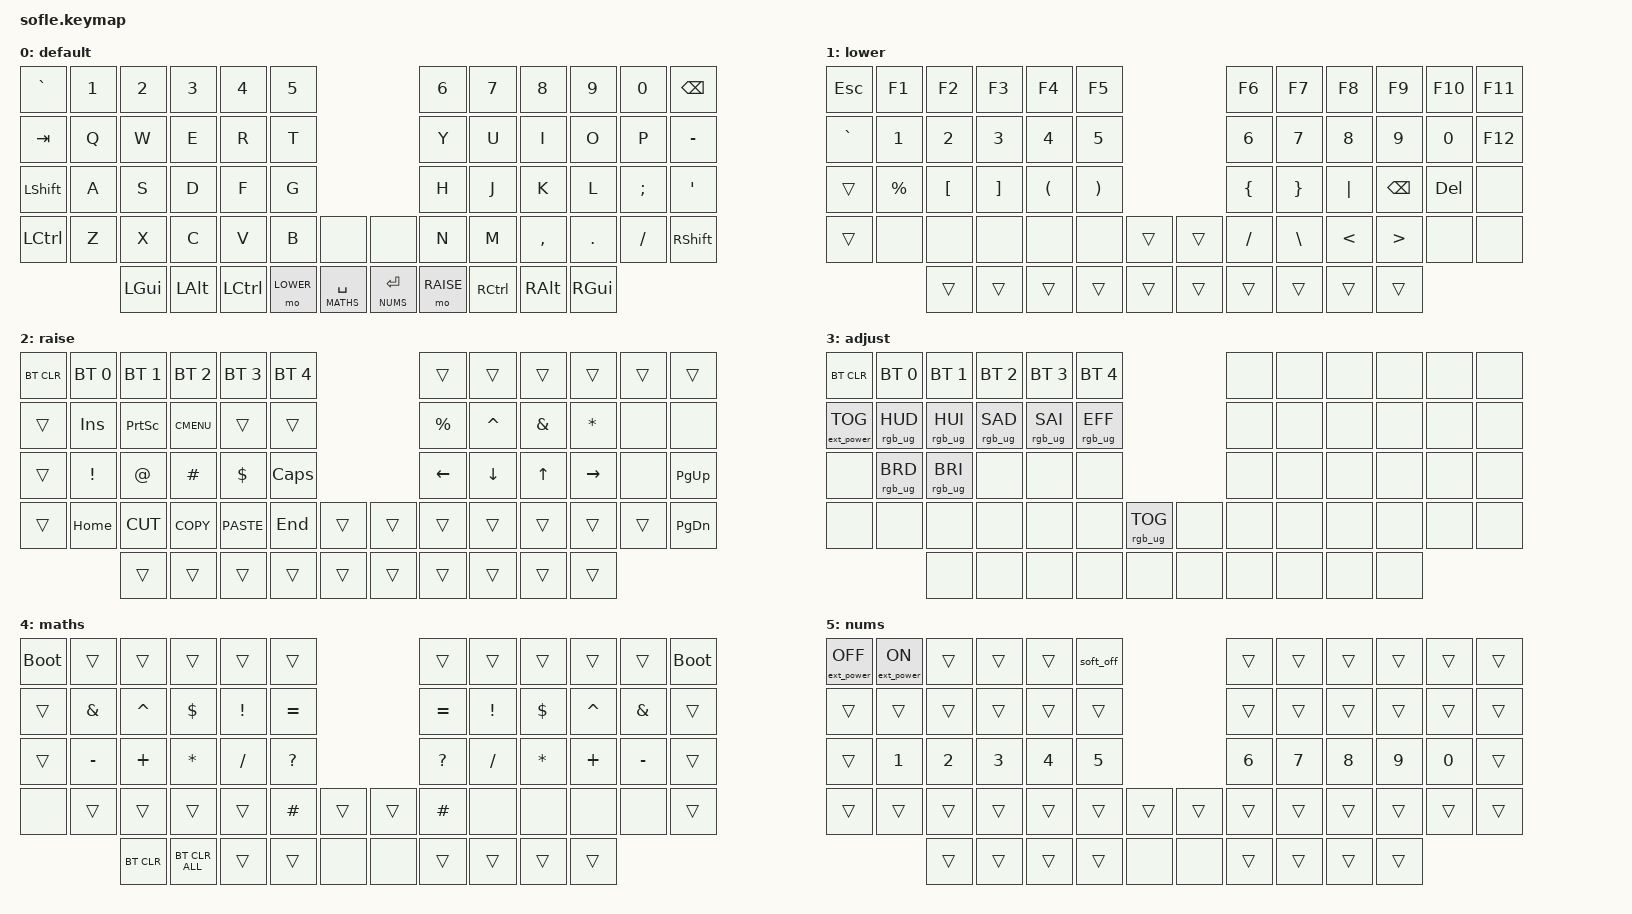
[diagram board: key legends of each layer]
/*
 * Copyright (c) 2020 The ZMK Contributors
 *
 * SPDX-License-Identifier: MIT
 */

#include <behaviors.dtsi>
#include <dt-bindings/zmk/bt.h>
#include <dt-bindings/zmk/ext_power.h>
#include <dt-bindings/zmk/keys.h>
#include <dt-bindings/zmk/rgb.h>

#define BASE 0
#define LOWER 1
#define RAISE 2
#define ADJUST 3
#define MATHS 4
#define NUMS 5

/ {
    combos {
        compatible = "zmk,combos";

        combo_studio_unlock {
            timeout-ms = <50>;
            key-positions = <0 1>;
            bindings = <&studio_unlock>;
        };
    };
};

/ {
    // Activate ADJUST layer by pressing raise and lower

    conditional_layers {
        compatible = "zmk,conditional-layers";

        adjust_layer {
            if-layers = <LOWER RAISE>;
            then-layer = <ADJUST>;
        };
    };

    keymap {
        compatible = "zmk,keymap";

        default_layer {
            display-name = "default";

            /*
             * ┌─────────┬─────────┬─────────┬─────────┬─────────┬─────────┐               ┌─────────┬─────────┬─────────┬─────────┬─────────┬─────────┐
             * │    `    │    1    │    2    │    3    │    4    │    5    │               │    6    │    7    │    8    │    9    │    0    │  BKSPC  │
             * ├─────────┼─────────┼─────────┼─────────┼─────────┼─────────┤               ├─────────┼─────────┼─────────┼─────────┼─────────┼─────────┤
             * │   TAB   │    Q    │    W    │    E    │    R    │    T    │               │    Y    │    U    │    I    │    O    │    P    │    -    │
             * ├─────────┼─────────┼─────────┼─────────┼─────────┼─────────┤               ├─────────┼─────────┼─────────┼─────────┼─────────┼─────────┤
             * │  SHIFT  │    A    │    S    │    D    │    F    │    G    │               │    H    │    J    │    K    │    L    │    ;    │    '    │
             * ├─────────┼─────────┼─────────┼─────────┼─────────┼─────────┼───────┐┌──────┼─────────┼─────────┼─────────┼─────────┼─────────┼─────────┤
             * │  CTRL   │    Z    │    X    │    C    │    V    │    B    │ MUTE  ││      │    N    │    M    │    ,    │    .    │    /    │  SHIFT  │
             * └─────────┴─────────┴─────────┼─────────┼─────────┼─────────┼───────┤└──────┼─────────┼─────────┼─────────┼─────────┴─────────┴─────────┘
             *                               │  LGUI   │  LALT   │  LCTRL  │ LOWER │ SPACE │ ENTER   │  RAISE  │  RCTRL  │  RALT   │  RGUI   │
             *                               └─────────┴─────────┴─────────┴───────┴───────┴─────────┴─────────┴─────────┴─────────┴─────────┘
             */

            bindings = <
&kp GRAVE         &kp N1  &kp N2        &kp N3    &kp N4     &kp N5                                        &kp N6     &kp N7     &kp N8     &kp N9         &kp N0    &kp BACKSPACE
&kp TAB           &kp Q   &kp W         &kp E     &kp R      &kp T                                         &kp Y      &kp U      &kp I      &kp O          &kp P     &kp MINUS
&kp LEFT_SHIFT    &kp A   &kp S         &kp D     &kp F      &kp G                                         &kp H      &kp J      &kp K      &kp L          &kp SEMI  &kp SQT
&kp LEFT_CONTROL  &kp Z   &kp X         &kp C     &kp V      &kp B      &none              &none           &kp N      &kp M      &kp COMMA  &kp DOT        &kp FSLH  &kp RSHFT
                          &kp LEFT_GUI  &kp LALT  &kp LCTRL  &mo LOWER  &lt MATHS SPACE    &lt NUMS ENTER  &mo RAISE  &kp RCTRL  &kp RALT   &kp RIGHT_GUI
            >;
        };

        lower_layer {
            display-name = "lower";

            /*
             * ┌─────────┬─────────┬─────────┬─────────┬─────────┬─────────┐               ┌─────────┬─────────┬─────────┬─────────┬─────────┬─────────┐
             * │   ESC   │   F1    │   F2    │   F3    │   F4    │   F5    │               │   F6    │   F7    │   F8    │   F9    │   F10   │   F11   │
             * ├─────────┼─────────┼─────────┼─────────┼─────────┼─────────┤               ├─────────┼─────────┼─────────┼─────────┼─────────┼─────────┤
             * │    `    │    1    │    2    │    3    │    4    │    5    │               │    6    │    7    │    8    │    9    │    0    │   F12   │
             * ├─────────┼─────────┼─────────┼─────────┼─────────┼─────────┤               ├─────────┼─────────┼─────────┼─────────┼─────────┼─────────┤
             * │  TRANS  │    %    │    [    │    ]    │    (    │    )    │               │    {    │    }    │    |    │  BKSPC  │   DEL   │  NONE   │
             * ├─────────┼─────────┼─────────┼─────────┼─────────┼─────────┼───────┐┌──────┼─────────┼─────────┼─────────┼─────────┼─────────┼─────────┤
             * │  TRANS  │  NONE   │  NONE   │  NONE   │  NONE   │  NONE   │ TRANS ││TRANS │    /    │    \    │    <    │    >    │  NONE   │  NONE   │
             * └─────────┴─────────┴─────────┼─────────┼─────────┼─────────┼───────┤└──────┼─────────┼─────────┼─────────┼─────────┴─────────┴─────────┘
             *                               │  TRANS  │  TRANS  │  TRANS  │ TRANS │ TRANS │ TRANS   │  TRANS  │  TRANS  │  TRANS  │  TRANS  │
             *                               └─────────┴─────────┴─────────┴───────┴───────┴─────────┴─────────┴─────────┴─────────┴─────────┘
             */

            bindings = <
&kp ESCAPE  &kp F1       &kp F2            &kp F3             &kp F4                &kp F5                                   &kp F6          &kp F7           &kp F8         &kp F9            &kp F10     &kp F11
&kp GRAVE   &kp N1       &kp N2            &kp N3             &kp N4                &kp N5                                   &kp N6          &kp N7           &kp N8         &kp N9            &kp N0      &kp F12
&trans      &kp PERCENT  &kp LEFT_BRACKET  &kp RIGHT_BRACKET  &kp LEFT_PARENTHESIS  &kp RIGHT_PARENTHESIS                    &kp LEFT_BRACE  &kp RIGHT_BRACE  &kp PIPE       &kp BACKSPACE     &kp DELETE  &none
&trans      &none        &none             &none              &none                 &none                  &trans    &trans  &kp SLASH       &kp BACKSLASH    &kp LESS_THAN  &kp GREATER_THAN  &none       &none
                         &trans            &trans             &trans                &trans                 &trans    &trans  &trans          &trans           &trans         &trans
            >;
        };

        raise_layer {
            display-name = "raise";

            /*
             * ┌─────────┬─────────┬─────────┬─────────┬─────────┬─────────┐               ┌─────────┬─────────┬─────────┬─────────┬─────────┬─────────┐
             * │ BT_CLR  │  BT 0   │  BT 1   │  BT 2   │  BT 3   │  BT 4   │               │  TRANS  │  TRANS  │  TRANS  │  TRANS  │  TRANS  │  TRANS  │
             * ├─────────┼─────────┼─────────┼─────────┼─────────┼─────────┤               ├─────────┼─────────┼─────────┼─────────┼─────────┼─────────┤
             * │  TRANS  │   INS   │  PSCRN  │  MENU   │  TRANS  │  TRANS  │               │    %    │    ^    │    &    │    *    │  NONE   │  NONE   │
             * ├─────────┼─────────┼─────────┼─────────┼─────────┼─────────┤               ├─────────┼─────────┼─────────┼─────────┼─────────┼─────────┤
             * │  TRANS  │    !    │    @    │    #    │    $    │  CAPS   │               │  LEFT   │  DOWN   │   UP    │  RIGHT  │  NONE   │  PG_UP  │
             * ├─────────┼─────────┼─────────┼─────────┼─────────┼─────────┼───────┐┌──────┼─────────┼─────────┼─────────┼─────────┼─────────┼─────────┤
             * │  TRANS  │  HOME   │   CUT   │  COPY   │  PASTE  │   END   │ TRANS ││TRANS │  TRANS  │  TRANS  │  TRANS  │  TRANS  │  TRANS  │  PG_DN  │
             * └─────────┴─────────┴─────────┼─────────┼─────────┼─────────┼───────┤└──────┼─────────┼─────────┼─────────┼─────────┴─────────┴─────────┘
             *                               │  TRANS  │  TRANS  │  TRANS  │ TRANS │ TRANS │ TRANS   │  TRANS  │  TRANS  │  TRANS  │  TRANS  │
             *                               └─────────┴─────────┴─────────┴───────┴───────┴─────────┴─────────┴─────────┴─────────┴─────────┘
             */

            bindings = <
&bt BT_CLR  &bt BT_SEL 0     &bt BT_SEL 1  &bt BT_SEL 2  &bt BT_SEL 3  &bt BT_SEL 4                    &trans       &trans     &trans         &trans     &trans  &trans
&trans      &kp INS          &kp PSCRN     &kp K_CMENU   &trans        &trans                          &kp PERCENT  &kp CARET  &kp AMPERSAND  &kp STAR   &none   &none
&trans      &kp EXCLAMATION  &kp AT        &kp POUND     &kp DOLLAR    &kp CLCK                        &kp LEFT     &kp DOWN   &kp UP_ARROW   &kp RIGHT  &none   &kp PAGE_UP
&trans      &kp HOME         &kp K_CUT     &kp K_COPY    &kp K_PASTE   &kp END       &trans    &trans  &trans       &trans     &trans         &trans     &trans  &kp PAGE_DOWN
                             &trans        &trans        &trans        &trans        &trans    &trans  &trans       &trans     &trans         &trans
            >;
        };

        adjust_layer {
            display-name = "adjust";

            /*
             * ┌─────────┬─────────┬─────────┬─────────┬─────────┬─────────┐               ┌─────────┬─────────┬─────────┬─────────┬─────────┬─────────┐
             * │ BT_CLR  │  BT 0   │  BT 1   │  BT 2   │  BT 3   │  BT 4   │               │  NONE   │  NONE   │  NONE   │  NONE   │  NONE   │  NONE   │
             * ├─────────┼─────────┼─────────┼─────────┼─────────┼─────────┤               ├─────────┼─────────┼─────────┼─────────┼─────────┼─────────┤
             * │ EP_TOG  │ RGB_HUD │ RGB_HUI │ RGB_SAD │ RGB_SAI │ RGB_EFF │               │  NONE   │  NONE   │  NONE   │  NONE   │  NONE   │  NONE   │
             * ├─────────┼─────────┼─────────┼─────────┼─────────┼─────────┤               ├─────────┼─────────┼─────────┼─────────┼─────────┼─────────┤
             * │  NONE   │ RGB_BRD │ RGB_BRI │  NONE   │  NONE   │  NONE   │               │  NONE   │  NONE   │  NONE   │  NONE   │  NONE   │  NONE   │
             * ├─────────┼─────────┼─────────┼─────────┼─────────┼─────────┼───────┐┌──────┼─────────┼─────────┼─────────┼─────────┼─────────┼─────────┤
             * │  NONE   │  NONE   │  NONE   │  NONE   │  NONE   │  NONE   │RGB_TOG││ NONE │  NONE   │  NONE   │  NONE   │  NONE   │  NONE   │  NONE   │
             * └─────────┴─────────┴─────────┼─────────┼─────────┼─────────┼───────┤└──────┼─────────┼─────────┼─────────┼─────────┴─────────┴─────────┘
             *                               │  NONE   │  NONE   │  NONE   │ NONE  │ NONE  │  NONE   │  NONE   │  NONE   │  NONE   │  NONE   │
             *                               └─────────┴─────────┴─────────┴───────┴───────┴─────────┴─────────┴─────────┴─────────┴─────────┘
             */

            bindings = <
&bt BT_CLR         &bt BT_SEL 0     &bt BT_SEL 1     &bt BT_SEL 2     &bt BT_SEL 3     &bt BT_SEL 4                               &none  &none  &none  &none  &none  &none
&ext_power EP_TOG  &rgb_ug RGB_HUD  &rgb_ug RGB_HUI  &rgb_ug RGB_SAD  &rgb_ug RGB_SAI  &rgb_ug RGB_EFF                            &none  &none  &none  &none  &none  &none
&none              &rgb_ug RGB_BRD  &rgb_ug RGB_BRI  &none            &none            &none                                      &none  &none  &none  &none  &none  &none
&none              &none            &none            &none            &none            &none            &rgb_ug RGB_TOG    &none  &none  &none  &none  &none  &none  &none
                                    &none            &none            &none            &none            &none              &none  &none  &none  &none  &none
            >;
        };

        maths_layer {
            display-name = "maths";

            /*
		 * ┌─────────┬─────────┬─────────┬─────────┬─────────┬─────────┐               ┌─────────┬─────────┬─────────┬─────────┬─────────┬─────────┐
		 * │BOOTLOADR│  TRANS  │  TRANS  │  TRANS  │  TRANS  │  TRANS  │               │  TRANS  │  TRANS  │  TRANS  │  TRANS  │  TRANS  │BOOTLOADR│
		 * ├─────────┼─────────┼─────────┼─────────┼─────────┼─────────┤               ├─────────┼─────────┼─────────┼─────────┼─────────┼─────────┤
		 * │  TRANS  │    &    │    ^    │    $    │    !    │    =    │               │    =    │    !    │    $    │    ^    │    &    │  TRANS  │
		 * ├─────────┼─────────┼─────────┼─────────┼─────────┼─────────┤               ├─────────┼─────────┼─────────┼─────────┼─────────┼─────────┤
		 * │  TRANS  │    -    │    +    │    *    │    /    │    ?    │               │    ?    │    /    │    *    │    +    │    -    │  TRANS  │
		 * ├─────────┼─────────┼─────────┼─────────┼─────────┼─────────┼───────┐┌──────┼─────────┼─────────┼─────────┼─────────┼─────────┼─────────┤
		 * │  NONE   │  TRANS  │  TRANS  │  TRANS  │  TRANS  │    #    │ TRANS ││TRANS │    #    │  NONE   │  NONE   │  NONE   │  NONE   │  TRANS  │
		 * └─────────┴─────────┴─────────┼─────────┼─────────┼─────────┼───────┤└──────┼─────────┼─────────┼─────────┼─────────┴─────────┴─────────┘
		 *                               │ BT_CLR  │BT_CLR_A │  TRANS  │ NONE  │ NONE │ TRANS   │  TRANS  │  TRANS  │  TRANS  │  TRANS  │
		 *                               └─────────┴─────────┴─────────┴───────┴───────┴─────────┴─────────┴─────────┴─────────┴─────────┘
		 */

            bindings = <
&bootloader  &trans         &trans      &trans          &trans           &trans                          &trans        &trans           &trans      &trans     &trans         &bootloader
&trans       &kp AMPERSAND  &kp CARET   &kp DOLLAR      &kp EXCLAMATION  &kp EQUAL                       &kp EQUAL     &kp EXCLAMATION  &kp DOLLAR  &kp CARET  &kp AMPERSAND  &trans
&trans       &kp MINUS      &kp PLUS    &kp STAR        &kp SLASH        &kp QUESTION                    &kp QUESTION  &kp SLASH        &kp STAR    &kp PLUS   &kp MINUS      &trans
&none        &trans         &trans      &trans          &trans           &kp HASH      &trans    &trans  &kp HASH      &none            &none       &none      &none          &trans
                            &bt BT_CLR  &bt BT_CLR_ALL  &trans           &trans        &none     &none   &trans        &trans           &trans      &trans
            >;
        };

        nums_layer {
            display-name = "nums";

            /*
 * --------------------------------------------------------------------------------------------------------------------
 * | EXT_OFF | EXT_ON | TRANS  | TRANS  | TRANS  | SOFTOFF|                    | TRANS  | TRANS | TRANS | TRANS | TRANS |
 * | TRANS   | TRANS  | TRANS  | TRANS  | TRANS  | TRANS  |                    | TRANS  | TRANS | TRANS | TRANS | TRANS |
 * | TRANS   |   1    |   2    |   3    |   4    |   5    |                    |   6    |   7   |   8   |   9   |   0   |
 * | TRANS   | TRANS  | TRANS  | TRANS  | TRANS  | TRANS  |  TRANS  |  | TRANS | TRANS  | TRANS | TRANS | TRANS | TRANS |
 *                    | TRANS  | TRANS  | TRANS  | TRANS  |  NONE   |  | NONE  | TRANS  | TRANS | TRANS | TRANS |
 * --------------------------------------------------------------------------------------------------------------------
 */

            bindings = <
&ext_power EP_OFF  &ext_power EP_ON  &trans        &trans        &trans        &soft_off                 &trans        &trans  &trans  &trans  &trans  &trans
&trans             &trans            &trans        &trans        &trans        &trans                    &trans        &trans  &trans  &trans  &trans  &trans
&trans             &kp NUMBER_1      &kp NUMBER_2  &kp NUMBER_3  &kp NUMBER_4  &kp N5                    &kp NUMBER_6  &kp N7  &kp N8  &kp N9  &kp N0  &trans
&trans             &trans            &trans        &trans        &trans        &trans  &trans    &trans  &trans        &trans  &trans  &trans  &trans  &trans
                                     &trans        &trans        &trans        &trans  &none     &none   &trans        &trans  &trans  &trans
            >;
        };
    };
};
